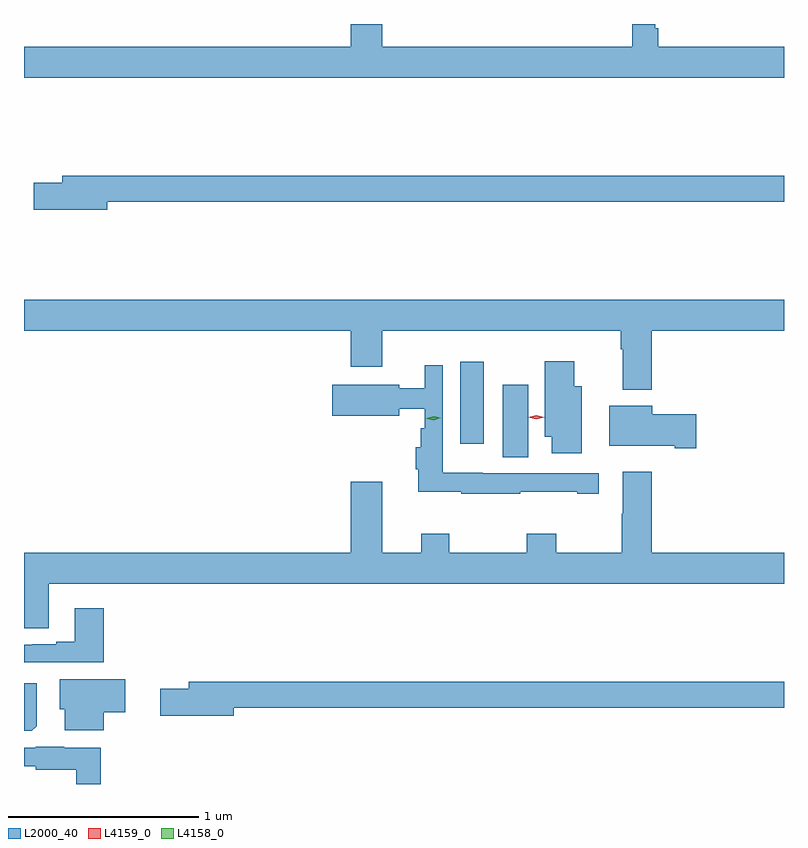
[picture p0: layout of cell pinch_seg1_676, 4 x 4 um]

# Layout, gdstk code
import gdstk
lib = gdstk.Library(unit=1e-6, precision=1e-09)
def R(c, l, rs):  # rectangles x0, y0, x1, y1
    for r in rs: c.add(gdstk.rectangle(r[:2], r[2:], *l))
def P(c, l, *ps):  # polygons
    for p in ps: c.add(gdstk.Polygon(p, *l))
L2000_40 = (2000, 40)
L4158_0 = (4158, 0)
L4159_0 = (4159, 0)

pinch_seg1_676 = lib.new_cell('pinch_seg1_676')
R(pinch_seg1_676, L2000_40, [(645.326,549.736,645.46,550.117), (645.104,549.807,645.226,550.237)])
P(pinch_seg1_676, L2000_40, [(646.807,551.896),(646.145,551.896),(646.145,551.992),(646.13,551.992),(646.13,552.015),(646.009,552.015),(646.009,551.896),(644.692,551.896),(644.692,552.015),(644.528,552.015),(644.528,551.896),(642.807,551.896),(642.807,551.732),(646.807,551.732)],
  [(643.246,551.08),(646.807,551.08),(646.807,551.216),(643.007,551.216),(643.007,551.18),(642.858,551.18),(642.858,551.038),(643.246,551.038)],
  [(646.112,550.4),(646.807,550.4),(646.807,550.564),(642.807,550.564),(642.807,550.4),(644.528,550.4),(644.528,550.212),(644.692,550.212),(644.692,550.4),(645.947,550.4),(645.947,550.304),(645.959,550.304),(645.959,550.091),(646.112,550.091)],
  [(645.742,550.108),(645.703,550.108),(645.703,550.24),(645.548,550.24),(645.548,549.842),(645.584,549.842),(645.584,549.756),(645.742,549.756)],
  [(645.419,549.553),(645.719,549.553),(645.719,549.543),(645.832,549.543),(645.832,549.651),(645.222,549.651),(645.222,549.652),(645.012,549.652),(645.012,550.219),(644.915,550.219),(644.915,550.099),(644.782,550.099),(644.782,550.117),(644.43,550.117),(644.43,549.952),(644.782,549.952),(644.782,549.989),(644.915,549.989),(644.915,549.888),(644.896,549.888),(644.896,549.787),(644.87,549.787),(644.87,549.671),(644.882,549.671),(644.882,549.553),(645.109,549.553),(645.109,549.543),(645.419,549.543)],
  [(646.345,549.96),(646.114,549.96),(646.114,550.006),(645.887,550.006),(645.887,549.794),(646.232,549.794),(646.232,549.782),(646.345,549.782)],
  [(642.937,549.068),(646.807,549.068),(646.807,549.232),(646.112,549.232),(646.112,549.658),(645.959,549.658),(645.959,549.437),(645.952,549.437),(645.952,549.232),(645.609,549.232),(645.609,549.331),(645.454,549.331),(645.454,549.232),(645.045,549.232),(645.045,549.331),(644.897,549.331),(644.897,549.232),(644.692,549.232),(644.692,549.607),(644.528,549.607),(644.528,549.232),(642.807,549.232),(642.807,548.836),(642.937,548.836)],
  [(642.808,548.655),(643.226,548.655),(643.226,548.941),(643.073,548.941),(643.073,548.764),(642.977,548.764),(642.977,548.751),(642.85,548.751),(642.85,548.748),(642.807,548.748),(642.807,548.654),(642.808,548.654)],
  [(643.228,548.393),(643.339,548.393),(643.339,548.566),(642.995,548.566),(642.995,548.409),(643.022,548.409),(643.022,548.297),(643.228,548.297)],
  [(643.912,548.416),(646.807,548.416),(646.807,548.552),(643.673,548.552),(643.673,548.516),(643.524,548.516),(643.524,548.374),(643.912,548.374)],
  [(642.874,548.32),(642.874,548.545),(642.807,548.545),(642.807,548.294),(642.848,548.294)],
  [(643.211,548.206),(643.02,548.206),(643.02,548.212),(642.87,548.212),(642.87,548.205),(642.807,548.205),(642.807,548.109),(642.87,548.109),(642.87,548.09),(643.083,548.09),(643.083,548.015),(643.211,548.015)])
P(pinch_seg1_676, L4158_0, [(644.964,549.93),(644.928,549.938),(644.928,549.938),(644.928,549.939),(644.964,549.95),(645,549.942),(645,549.942),(645,549.942)])
P(pinch_seg1_676, L4159_0, [(645.503,549.936),(645.461,549.946),(645.461,549.946),(645.461,549.946),(645.503,549.956),(645.544,549.946),(645.544,549.946),(645.544,549.946)])

lib.write_gds('pinch_seg1_676.gds')
